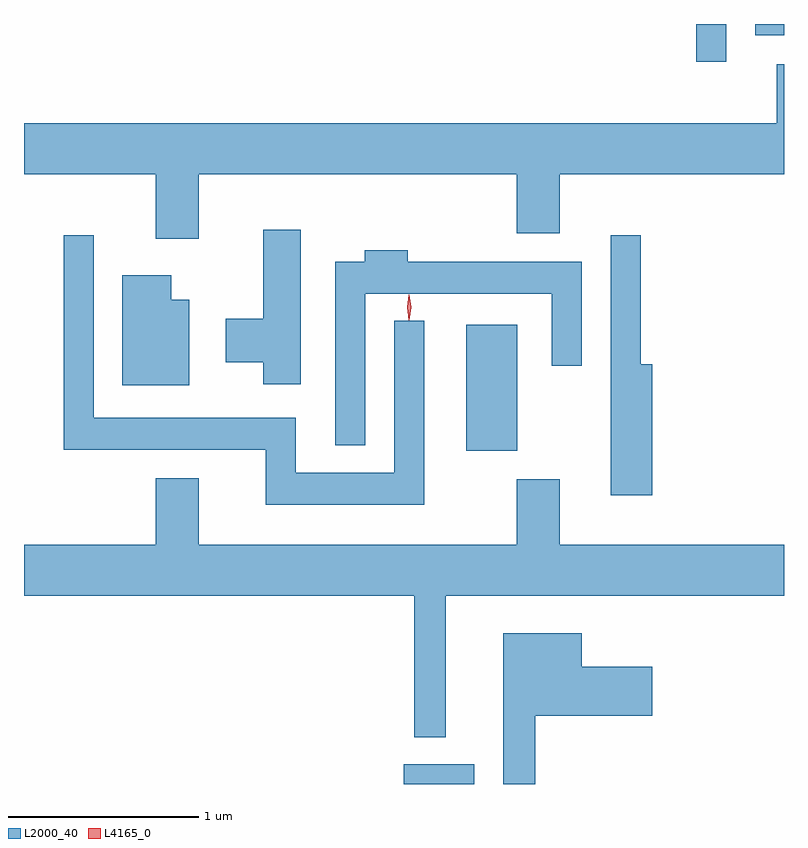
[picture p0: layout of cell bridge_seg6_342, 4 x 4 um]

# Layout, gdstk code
import gdstk
lib = gdstk.Library(unit=1e-6, precision=1e-09)
def R(c, l, rs):  # rectangles x0, y0, x1, y1
    for r in rs: c.add(gdstk.rectangle(r[:2], r[2:], *l))
def P(c, l, *ps):  # polygons
    for p in ps: c.add(gdstk.Polygon(p, *l))
L2000_40 = (2000, 40)
L4165_0 = (4165, 0)

bridge_seg6_342 = lib.new_cell('bridge_seg6_342')
R(bridge_seg6_342, L2000_40, [(1279.416,1535.726,1279.789,1535.829), (1279.746,1537.481,1280.014,1538.144), (1280.956,1539.528,1281.114,1539.726), (1281.266,1539.666,1281.418,1539.726)])
P(bridge_seg6_342, L2000_40, [(1278.339,1538.936),(1280.011,1538.936),(1280.011,1538.626),(1280.239,1538.626),(1280.239,1538.936),(1281.418,1538.936),(1281.418,1539.514),(1281.381,1539.514),(1281.381,1539.204),(1277.418,1539.204),(1277.418,1538.936),(1278.111,1538.936),(1278.111,1538.596),(1278.339,1538.596)],
  [(1278.874,1538.644),(1278.676,1538.644),(1278.676,1538.174),(1278.481,1538.174),(1278.481,1537.946),(1278.676,1537.946),(1278.676,1537.831),(1278.874,1537.831)],
  [(1280.724,1537.934),(1280.664,1537.934),(1280.664,1538.613),(1280.506,1538.613),(1280.506,1537.246),(1280.724,1537.246)],
  [(1279.524,1538.163),(1279.366,1538.163),(1279.366,1537.364),(1278.849,1537.364),(1278.849,1537.654),(1277.784,1537.654),(1277.784,1538.613),(1277.626,1538.613),(1277.626,1537.486),(1278.691,1537.486),(1278.691,1537.196),(1279.524,1537.196)],
  [(1279.214,1538.306),(1280.196,1538.306),(1280.196,1537.928),(1280.354,1537.928),(1280.354,1538.474),(1279.439,1538.474),(1279.439,1538.534),(1279.211,1538.534),(1279.211,1538.474),(1279.056,1538.474),(1279.056,1537.508),(1279.214,1537.508)],
  [(1278.289,1538.274),(1278.194,1538.274),(1278.194,1538.404),(1277.936,1538.404),(1277.936,1537.826),(1278.289,1537.826)],
  [(1279.471,1535.973),(1279.639,1535.973),(1279.639,1536.716),(1281.418,1536.716),(1281.418,1536.984),(1280.239,1536.984),(1280.239,1537.329),(1280.011,1537.329),(1280.011,1536.984),(1278.339,1536.984),(1278.339,1537.334),(1278.111,1537.334),(1278.111,1536.984),(1277.418,1536.984),(1277.418,1536.716),(1279.471,1536.716)],
  [(1280.109,1536.086),(1280.724,1536.086),(1280.724,1536.344),(1280.354,1536.344),(1280.354,1536.519),(1279.941,1536.519),(1279.941,1535.726),(1280.109,1535.726)])
P(bridge_seg6_342, L4165_0, [(1279.444,1538.167),(1279.435,1538.234),(1279.444,1538.3),(1279.445,1538.301),(1279.445,1538.3),(1279.455,1538.234),(1279.445,1538.167),(1279.445,1538.167)])

lib.write_gds('bridge_seg6_342.gds')
